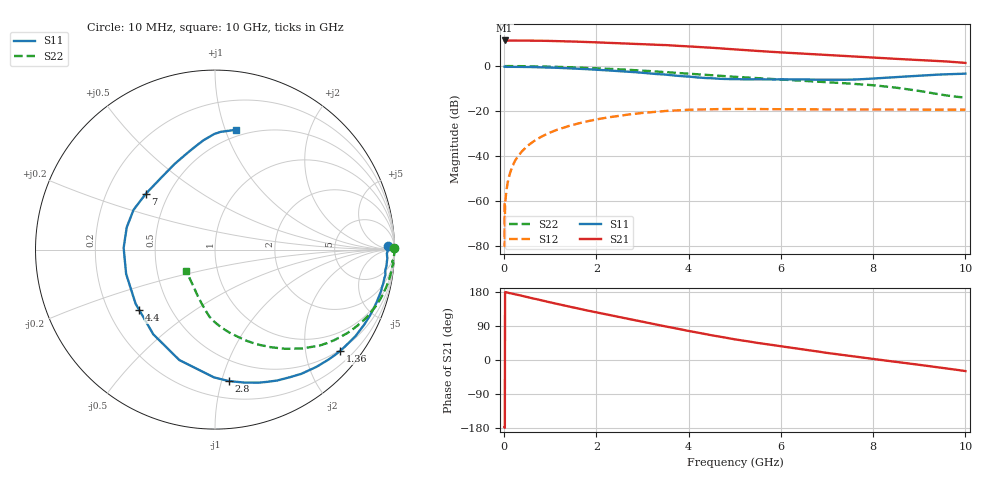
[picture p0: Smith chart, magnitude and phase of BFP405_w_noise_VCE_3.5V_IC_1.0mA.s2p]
! Infineon Technologies  Discrete & RF Semiconductors
! BFP405
! VCE =  3.5 V,  IC =  1.0 mA
! Common Emitter S-Parameters:  Jan 2016
# GHz  S  MA  R  50
!  f  S11  S21  S12  S22
! GHz  MAG  ANG  MAG  ANG  MAG  ANG  MAG  ANG
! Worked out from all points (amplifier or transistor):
!   233 points, 10 MHz to 10 GHz, reference 50 ohm
!   highest |S21| = 11.4 dB at 10 MHz (marker M1)
!   |S21| within 3 dB of that: start of sweep to 4.284 GHz
!   unconditionally stable (mu >= 1): 14.8 MHz to 15.32 MHz; 5.176 GHz to end of sweep
!   at 200 MHz: K = 0.04, MSG = 27.5 dB, |S12| = -43.6 dB
!   at 1.74 GHz: K = 0.21, MSG = 17.8 dB, |S12| = -24.8 dB
!   at 10 GHz: K = 1.99, MAG = 4.7 dB, |S12| = -19.3 dB
!   lowest NFmin = 0.74 dB at 900 MHz
!   S11 on the Smith chart (normalised r, x): 10 MHz: 44, +24; 1.36 GHz: 0.48, -2.74; 2.8 GHz: 0.33, -1.06; 4.4 GHz: 0.33, -0.31; 7 GHz: 0.37, +0.31; 10 GHz: 0.44, +1.09
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0.01  0.9655 1.1  3.7 -177.5  0.0009 -85.2  1 0.6
0.015  0.9643 0.4  3.683 -179.2  0.0001 -25.1  0.9975 0.4
0.02  0.9633 -0.3  3.67 179.1  0.0008 77.7  0.9951 0.2
0.055  0.9582 -1.5  3.658 178.6  0.0019 85.7  0.9984 -0.5
0.13  0.9604 -3.7  3.678 176.4  0.0043 85.9  0.9976 -1.9
0.24  0.9562 -6.6  3.689 173.4  0.008 86.2  0.9901 -3.7
0.44  0.9541 -12.4  3.672 167.8  0.0146 83.2  0.9908 -6.6
0.64  0.9467 -18.1  3.654 162.2  0.0213 80.2  0.9844 -9.6
1.02  0.9248 -29.1  3.609 151.6  0.0341 74.1  0.9667 -15.3
1.36  0.8964 -39.1  3.533 142.4  0.0453 68.3  0.9443 -20.3
1.68  0.8649 -48.7  3.453 133.8  0.0556 62.6  0.9198 -24.9
2.2  0.8075 -64.6  3.301 120.6  0.0709 53.5  0.8741 -31.9
2.8  0.7367 -84.0  3.128 105.9  0.0864 43.1  0.8142 -39.7
3.4  0.6546 -104.2  2.939 91.2  0.0984 32.7  0.7455 -47.3
4  0.5839 -126.1  2.743 76.6  0.107 23.0  0.6771 -54.7
4.4  0.5398 -141.5  2.578 67.6  0.1097 17.0  0.6342 -59.3
5.1  0.5092 -167.9  2.307 52.7  0.1116 7.8  0.5689 -67.0
6  0.5072 165.9  2.01 36.2  0.11 -0.7  0.502 -75.3
6.8  0.4963 146.4  1.807 22.4  0.1088 -6.0  0.4503 -82.9
7  0.4954 141.3  1.761 18.7  0.1086 -7.2  0.4381 -84.9
8.4  0.5587 106.2  1.461 -3.5  0.1079 -14.4  0.3399 -99.3
10  0.677 80.2  1.174 -29.2  0.1078 -19.5  0.1996 -144.1
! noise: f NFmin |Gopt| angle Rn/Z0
0.9  0.74  0.71  15  0.57
1.8  1.18  0.58  32  0.51
2.4  1.45  0.48  44  0.46
3  1.56  0.48  58  0.43
4  1.81  0.35  86  0.3
5  2.13  0.33  122  0.21
